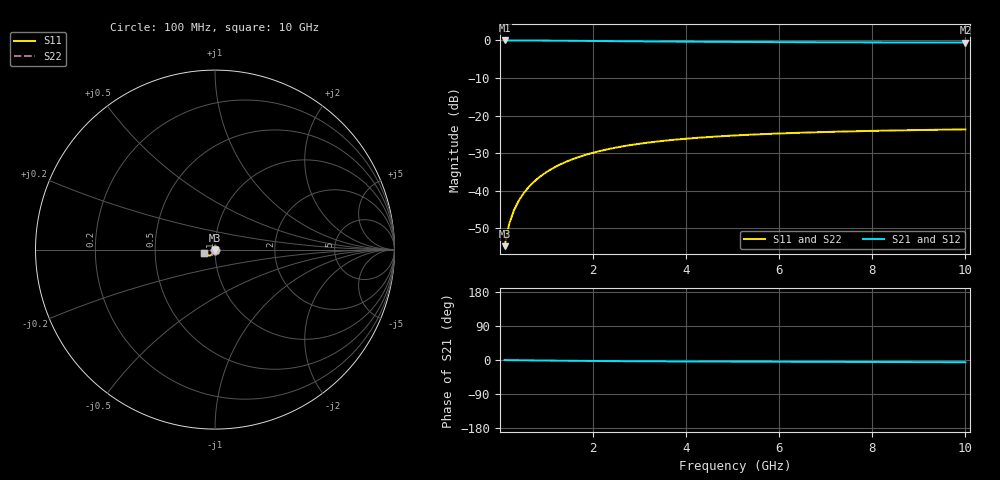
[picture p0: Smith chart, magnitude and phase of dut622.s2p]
! Touchstone file exported from HFSS 2024.1.0
!  File:  C:/UserFiles/LocalFiles/RDL_TSV_Batchsim/temp_TSV1_622_1779789280.aedt
!  Generated:  05:59:11 PM May 26, 2026
!  Design:  TSV1
!  Project:  temp_TSV1_622_1779789280
!  Setup:  Setup1
!  Solution:  Sweep
! Variables:
!  dtsv = 12.7um
!  hbump = 3um
!  htsv = 92.19um
!  lrdl = 252.1521522um
!  p = 40
!  p1 = 47.56um
!  t = 500um
!  trdl = 3um
!  wrdl = 24.89489489um
# GHz S MA R 50.000000
! Terminal data exported
! Port[1] = TSV22_T1
! Port[2] = TSV22_T2
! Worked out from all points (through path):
!   100 points, 100 MHz to 10 GHz, reference 50 ohm
!   highest |S21| = 0.00 dB at 100 MHz (marker M1); lowest = -0.6 dB at 10 GHz (marker M2)
!   lowest |S11| = -54.8 dB at 100 MHz (marker M3), VSWR 1.00, Z = 50 - j0.182 ohm
!   |S11| at or under -10 dB: start of sweep to end of sweep
!   |S22| runs from -54.8 to -23.7 dB; largest |S21 - S12| = 6.1e-15
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0.1  0.001825 -88.4  0.9998 -0.2  0.9998 -0.2  0.001825 -88.4
! Gamma 0 0 0 0
! Port Impedance 50 0 50 0
0.2  0.003648 -91.5  0.9997 -0.3  0.9997 -0.3  0.003648 -91.5
0.3  0.005469 -93.6  0.9994 -0.5  0.9994 -0.5  0.005469 -93.6
0.4  0.007282 -95.5  0.999 -0.6  0.999 -0.6  0.007282 -95.5
0.5  0.009081 -97.3  0.9985 -0.8  0.9985 -0.8  0.009081 -97.3
0.6  0.01086 -99.0  0.998 -0.9  0.998 -0.9  0.01086 -99.0
0.7  0.01261 -100.7  0.9973 -1.0  0.9973 -1.0  0.01261 -100.7
0.8  0.01434 -102.3  0.9966 -1.2  0.9966 -1.2  0.01434 -102.3
0.9  0.01603 -103.9  0.9958 -1.3  0.9958 -1.3  0.01603 -103.9
1.1  0.01931 -107.1  0.9941 -1.6  0.9941 -1.6  0.01931 -107.1
1.4  0.02393 -111.5  0.991 -1.9  0.991 -1.9  0.02393 -111.5
1.6  0.02679 -114.4  0.9888 -2.2  0.9888 -2.2  0.02679 -114.4
1.8  0.02948 -117.0  0.9866 -2.4  0.9866 -2.4  0.02948 -117.0
2.1  0.03319 -120.8  0.9831 -2.6  0.9831 -2.6  0.03319 -120.8
2.5  0.03755 -125.4  0.9785 -3.0  0.9785 -3.0  0.03755 -125.4
2.9  0.04131 -129.5  0.974 -3.2  0.974 -3.2  0.04131 -129.5
3.4  0.04529 -134.0  0.9689 -3.5  0.9689 -3.5  0.04529 -134.0
4.2  0.05032 -140.1  0.9619 -3.9  0.9619 -3.9  0.05032 -140.1
5.1  0.05455 -145.7  0.9554 -4.3  0.9554 -4.3  0.05455 -145.7
6.7  0.0597 -153.4  0.947 -4.8  0.947 -4.8  0.0597 -153.4
8.4  0.06322 -159.5  0.941 -5.4  0.941 -5.4  0.06322 -159.5
10  0.06546 -164.1  0.937 -5.9  0.937 -5.9  0.06546 -164.1
